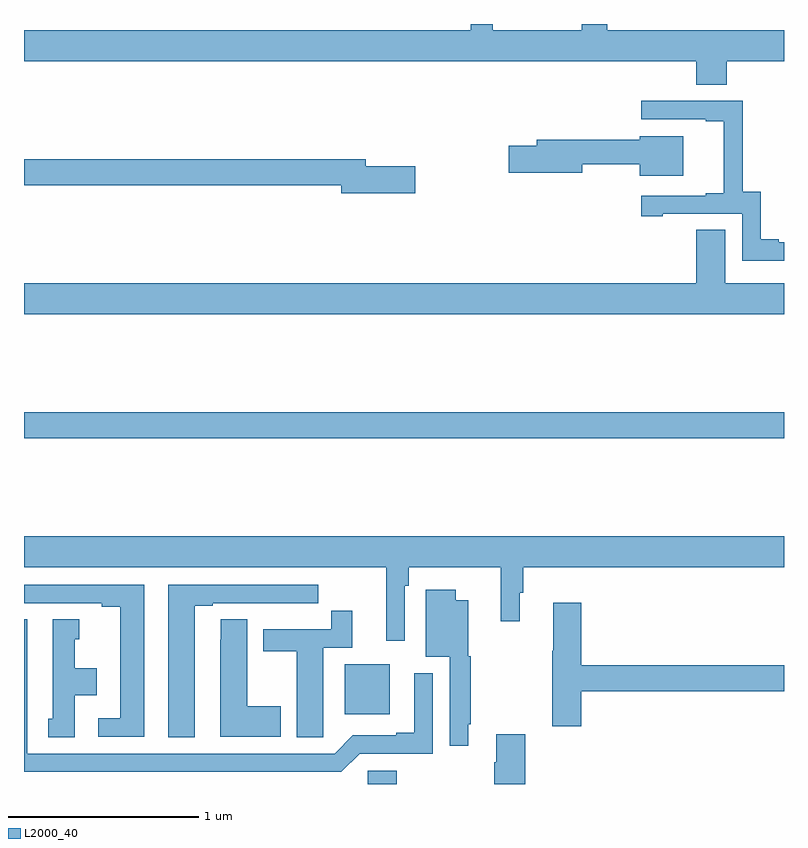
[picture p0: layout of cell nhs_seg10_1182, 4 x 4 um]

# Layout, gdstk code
import gdstk
lib = gdstk.Library(unit=1e-6, precision=1e-09)
def R(c, l, rs):  # rectangles x0, y0, x1, y1
    for r in rs: c.add(gdstk.rectangle(r[:2], r[2:], *l))
def P(c, l, *ps):  # polygons
    for p in ps: c.add(gdstk.Polygon(p, *l))
L2000_40 = (2000, 40)

nhs_seg10_1182 = lib.new_cell('nhs_seg10_1182')
R(nhs_seg10_1182, L2000_40, [(172.809,1308.5,172.961,1308.57), (172.688,1308.866,172.924,1309.129), (171,1310.32,175,1310.456)])
P(nhs_seg10_1182, L2000_40, [(174.699,1312.304),(175,1312.304),(175,1312.468),(174.071,1312.468),(174.071,1312.5),(173.935,1312.5),(173.935,1312.468),(173.468,1312.468),(173.468,1312.5),(173.351,1312.5),(173.351,1312.468),(171,1312.468),(171,1312.304),(174.539,1312.304),(174.539,1312.18),(174.699,1312.18)],
  [(175,1311.351),(174.973,1311.351),(174.973,1311.366),(174.877,1311.366),(174.877,1311.617),(174.783,1311.617),(174.783,1312.095),(174.249,1312.095),(174.249,1311.999),(174.587,1311.999),(174.587,1311.987),(174.683,1311.987),(174.683,1311.61),(174.587,1311.61),(174.587,1311.597),(174.249,1311.597),(174.249,1311.489),(174.361,1311.489),(174.361,1311.501),(174.78,1311.501),(174.78,1311.255),(175,1311.255)],
  [(174.469,1311.91),(174.242,1311.91),(174.242,1311.892),(173.699,1311.892),(173.699,1311.858),(173.55,1311.858),(173.55,1311.716),(173.938,1311.716),(173.938,1311.763),(174.242,1311.763),(174.242,1311.701),(174.469,1311.701)],
  [(173.059,1311.752),(172.798,1311.752),(172.798,1311.788),(171,1311.788),(171,1311.652),(172.67,1311.652),(172.67,1311.61),(173.059,1311.61)],
  [(175,1311.136),(174.691,1311.136),(174.691,1311.416),(174.539,1311.416),(174.539,1311.136),(171,1311.136),(171,1310.972),(175,1310.972)],
  [(173.004,1309.544),(173.024,1309.544),(173.024,1309.64),(173.509,1309.64),(173.509,1309.356),(173.608,1309.356),(173.608,1309.506),(173.627,1309.506),(173.627,1309.64),(175,1309.64),(175,1309.804),(171,1309.804),(171,1309.64),(172.907,1309.64),(172.907,1309.254),(173.004,1309.254)],
  [(171.634,1309.548),(171,1309.548),(171,1309.452),(171.41,1309.452),(171.41,1309.432),(171.506,1309.432),(171.506,1308.846),(171.39,1308.846),(171.39,1308.75),(171.634,1308.75)],
  [(171.898,1309.437),(171.994,1309.437),(171.994,1309.452),(172.27,1309.452),(172.27,1309.451),(172.436,1309.451),(172.436,1309.452),(172.549,1309.452),(172.549,1309.548),(171.758,1309.548),(171.758,1308.745),(171.898,1308.745)],
  [(173.338,1308.814),(173.35,1308.814),(173.35,1309.173),(173.338,1309.173),(173.338,1309.468),(173.272,1309.468),(173.272,1309.522),(173.114,1309.522),(173.114,1309.169),(173.241,1309.169),(173.241,1308.702),(173.338,1308.702)],
  [(173.933,1308.988),(175,1308.988),(175,1309.124),(173.933,1309.124),(173.933,1309.453),(173.786,1309.453),(173.786,1309.201),(173.779,1309.201),(173.779,1308.804),(173.933,1308.804)],
  [(172.575,1308.856),(172.576,1308.856),(172.576,1309.218),(172.727,1309.218),(172.727,1309.411),(172.618,1309.411),(172.618,1309.314),(172.259,1309.314),(172.259,1309.198),(172.436,1309.198),(172.436,1308.745),(172.575,1308.745)],
  [(172.351,1308.909),(172.174,1308.909),(172.174,1309.367),(172.035,1309.367),(172.035,1309.259),(172.034,1309.259),(172.034,1308.749),(172.351,1308.749)],
  [(171.268,1308.968),(171.382,1308.968),(171.382,1309.108),(171.268,1309.108),(171.268,1309.263),(171.292,1309.263),(171.292,1309.366),(171.152,1309.366),(171.152,1308.843),(171.128,1308.843),(171.128,1308.745),(171.268,1308.745)],
  [(172.767,1308.66),(173.151,1308.66),(173.151,1309.084),(173.054,1309.084),(173.054,1308.769),(172.958,1308.769),(172.958,1308.756),(172.731,1308.756),(172.635,1308.66),(171.016,1308.66),(171.016,1309.366),(171,1309.366),(171,1308.564),(172.671,1308.564)],
  [(173.639,1308.763),(173.486,1308.763),(173.486,1308.614),(173.474,1308.614),(173.474,1308.5),(173.639,1308.5)])

lib.write_gds('nhs_seg10_1182.gds')
